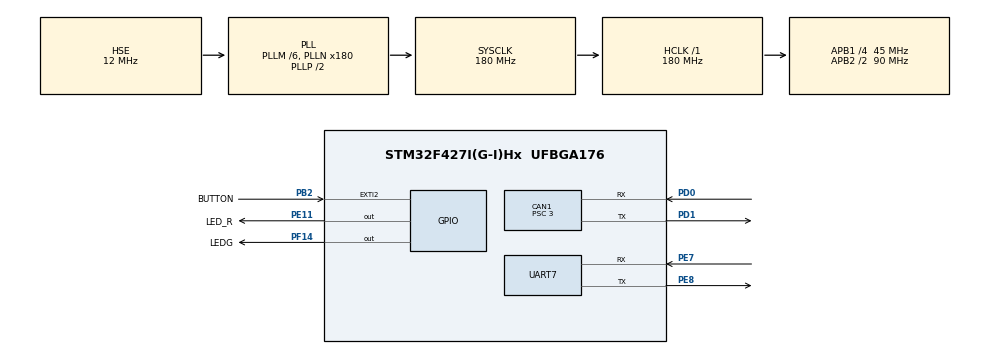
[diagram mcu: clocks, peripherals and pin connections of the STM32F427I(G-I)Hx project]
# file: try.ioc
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CAN1.BS1=CAN_BS1_10TQ
CAN1.BS2=CAN_BS2_4TQ
CAN1.CalculateBaudRate=1000000
CAN1.CalculateTimeBit=1000
CAN1.CalculateTimeQuantum=66.66666666666666
CAN1.Prescaler=3
Mcu.Family=STM32F4
Mcu.Name=STM32F427I(G-I)Hx
Mcu.Package=UFBGA176
NVIC.CAN1_RX0_IRQn=true\:0\:0\:false\:false\:true\:true\:true\:true
NVIC.CAN1_RX1_IRQn=true\:0\:0\:false\:false\:true\:true\:true\:true
NVIC.CAN1_TX_IRQn=true\:0\:0\:false\:false\:true\:true\:true\:true
NVIC.EXTI2_IRQn=true\:2\:0\:true\:false\:true\:true\:true\:true
NVIC.PriorityGroup=NVIC_PRIORITYGROUP_4
NVIC.TIM6_DAC_IRQn=true\:0\:0\:false\:false\:true\:true\:true\:true
NVIC.UART7_IRQn=true\:0\:0\:false\:false\:true\:true\:true\:true
PA13.Mode=Serial_Wire
PA13.Signal=SYS_JTMS-SWDIO
PA14.Mode=Serial_Wire
PA14.Signal=SYS_JTCK-SWCLK
PB2/BOOT1.GPIO_Label=BUTTON
PB2/BOOT1.GPIO_ModeDefaultEXTI=GPIO_MODE_IT_RISING
PB2/BOOT1.GPIO_PuPd=GPIO_PULLDOWN
PB2/BOOT1.Signal=GPXTI2
PD0.Mode=CAN_Activate
PD0.Signal=CAN1_RX
PD1.Mode=CAN_Activate
PD1.Signal=CAN1_TX
PE11.GPIO_Label=LED_R
PE11.GPIO_PuPd=GPIO_PULLUP
PE11.Signal=GPIO_Output
PE7.Mode=Asynchronous
PE7.Signal=UART7_RX
PE8.Mode=Asynchronous
PE8.Signal=UART7_TX
PF14.GPIO_Label=LEDG
PF14.Signal=GPIO_Output
PH0/OSC_IN.Mode=HSE-External-Oscillator
PH0/OSC_IN.Signal=RCC_OSC_IN
PH1/OSC_OUT.Mode=HSE-External-Oscillator
PH1/OSC_OUT.Signal=RCC_OSC_OUT
ProjectManager.HeapSize=0x200
ProjectManager.StackSize=0x400
ProjectManager.TargetToolchain=MDK-ARM V5.32
RCC.48MHZClocksFreq_Value=90000000
RCC.AHBFreq_Value=180000000
RCC.APB1CLKDivider=RCC_HCLK_DIV4
RCC.APB1Freq_Value=45000000
RCC.APB1TimFreq_Value=90000000
RCC.APB2CLKDivider=RCC_HCLK_DIV2
RCC.APB2Freq_Value=90000000
RCC.APB2TimFreq_Value=180000000
RCC.CortexFreq_Value=180000000
RCC.HCLKFreq_Value=180000000
RCC.HSE_VALUE=12000000
RCC.HSI_VALUE=16000000
RCC.LSE_VALUE=32768
RCC.PLLM=6
RCC.PLLN=180
RCC.PLLSourceVirtual=RCC_PLLSOURCE_HSE
RCC.SYSCLKFreq_VALUE=180000000
RCC.SYSCLKSource=RCC_SYSCLKSOURCE_PLLCLK
RCC.VCOOutputFreq_Value=360000000
TIM6.Period=1000-1
TIM6.Prescaler=180-1
UART7.Parity=PARITY_EVEN
UART7.VirtualMode=Asynchronous
UART7.WordLength=WORDLENGTH_9B
VP_TIM6_VS_ClockSourceINT.Mode=Enable_Timer
board=custom

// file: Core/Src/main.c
/* USER CODE BEGIN Header */
/**
  ******************************************************************************
  * @file           : main.c
  * @brief          : Main program body
  ******************************************************************************
  * @attention
  *
  * Copyright (c) 2025 STMicroelectronics.
  * All rights reserved.
  *
  * This software is licensed under terms that can be found in the LICENSE file
  * in the root directory of this software component.
  * If no LICENSE file comes with this software, it is provided AS-IS.
  *
  ******************************************************************************
  */
/* USER CODE END Header */
#include "main.h"
#include "can.h"
#include "tim.h"
#include "usart.h"
#include "gpio.h"

/* USER CODE BEGIN PV */
uint32_t ticks;
uint32_t flag = 0;
uint32_t clock = 0;
uint8_t key_lock = 1;
uint32_t ticks_1=0,ticks_2=0;
uint32_t key_pressed = 0;
uint32_t last_key_time = 0;
uint8_t rx_msg[4] ;
uint8_t tx_msg[4] ;
uint8_t stop_flag = 1;
float target_angle = 0.0f;  // 新增全局目标角度变量
// --- 按键检测相关变量 ---
uint8_t last_button_state = GPIO_PIN_SET; // 记录上一次按键状态，假设未按下时为高电平
uint32_t last_debounce_time = 0;          // 记录上次消抖处理的时间
uint32_t debounce_delay = 200;            // 消抖延时，单位毫秒
// --- 按键检测相关变量 ---

CAN_RxHeaderTypeDef rx_header;
CAN_TxHeaderTypeDef tx_header = {
  .StdId = 0x200,
  .ExtId = 0,
  .IDE = CAN_ID_STD,
  .RTR = CAN_RTR_DATA,
  .DLC = 8,
  .TransmitGlobalTime = DISABLE,
};
CAN_FilterTypeDef filter_config = {
  .FilterIdHigh = 0x0000,
  .FilterIdLow = 0x0000,
  .FilterMaskIdHigh = 0x0000,
  .FilterFIFOAssignment = CAN_FILTER_FIFO0,
  .FilterBank = 0,
  .FilterMode = CAN_FILTERMODE_IDMASK,
  .FilterScale = CAN_FILTERSCALE_32BIT,
  .FilterActivation = ENABLE
};
uint8_t rx_data[8];
uint8_t tx_data[8] = {0x00,0xd0,0x00,0x00,0x00,0x00,0x00,0x00};
uint32_t can_tx_mail_box_;
/* USER CODE END PV */

void SystemClock_Config(void);

int main(void)
{

  /* MCU Configuration--------------------------------------------------------*/

  /* Reset of all peripherals, Initializes the Flash interface and the Systick. */
  HAL_Init();

  /* Configure the system clock */
  SystemClock_Config();

  /* Initialize all configured peripherals */
  MX_GPIO_Init();
  MX_UART7_Init();
  MX_CAN1_Init();
  MX_TIM6_Init();
  /* USER CODE BEGIN 2 */
  HAL_CAN_ConfigFilter(&hcan1,&filter_config);
  HAL_CAN_Start(&hcan1);
  HAL_CAN_ActivateNotification(&hcan1,CAN_IT_RX_FIFO0_MSG_PENDING);
  HAL_TIM_Base_Start_IT(&htim6);
  /* USER CODE END 2 */

  /* Infinite loop */
  /* USER CODE BEGIN WHILE */
  while (1)
  {
    // --- 按键检测逻辑 ---
    uint8_t current_button_state = HAL_GPIO_ReadPin(BUTTON_GPIO_Port, BUTTON_Pin); // 读取当前按键状态

    // 检测按键状态从高电平（未按下）变为低电平（按下） - 下降沿检测
    if (last_button_state == GPIO_PIN_SET && current_button_state == GPIO_PIN_RESET) {
      uint32_t current_time = HAL_GetTick(); // 获取当前系统时间

      // 检查是否超过了消抖延时时间
      if (current_time - last_debounce_time >= debounce_delay) {
        stop_flag = !stop_flag; // 切换stop_flag状态
        last_debounce_time = current_time; // 更新消抖时间
      }
    }
    last_button_state = current_button_state;
    // HAL_UART_Transmit(&huart7, tx_msg, 4, 1000);
    // HAL_Delay(1000);
    // uint32_t arr_value = __HAL_TIM_GetCounter(&htim1)+1;
    // uint32_t brightness = arr_value * sinf(4*HAL_GetTick()/1000.f) - 1 ;
    // __HAL_TIM_SetCompare(&htim1, TIM_CHANNEL_2, brightness);

    /*
    if (__HAL_TIM_GET_COUNTER(&htim1) > __HAL_TIM_GET_AUTORELOAD(&htim1)/2)
    {
      HAL_GPIO_WritePin(LEDG_GPIO_Port, LEDG_Pin, GPIO_PIN_RESET);
    } else
    {

      HAL_GPIO_WritePin(LEDG_GPIO_Port, LEDG_Pin, GPIO_PIN_SET);
    }
    */
    /* USER CODE END WHILE */

  }
}

void SystemClock_Config(void)
{
  RCC_OscInitTypeDef RCC_OscInitStruct = {0};
  RCC_ClkInitTypeDef RCC_ClkInitStruct = {0};

  /** Configure the main internal regulator output voltage
  */
  __HAL_RCC_PWR_CLK_ENABLE();
  __HAL_PWR_VOLTAGESCALING_CONFIG(PWR_REGULATOR_VOLTAGE_SCALE1);

  /** Initializes the RCC Oscillators according to the specified parameters
  * in the RCC_OscInitTypeDef structure.
  */
  RCC_OscInitStruct.OscillatorType = RCC_OSCILLATORTYPE_HSE;
  RCC_OscInitStruct.HSEState = RCC_HSE_ON;
  RCC_OscInitStruct.PLL.PLLState = RCC_PLL_ON;
  RCC_OscInitStruct.PLL.PLLSource = RCC_PLLSOURCE_HSE;
  RCC_OscInitStruct.PLL.PLLM = 6;
  RCC_OscInitStruct.PLL.PLLN = 180;
  RCC_OscInitStruct.PLL.PLLP = RCC_PLLP_DIV2;
  RCC_OscInitStruct.PLL.PLLQ = 4;
  if (HAL_RCC_OscConfig(&RCC_OscInitStruct) != HAL_OK)
  {
    Error_Handler();
  }

  /** Activate the Over-Drive mode
  */
  if (HAL_PWREx_EnableOverDrive() != HAL_OK)
  {
    Error_Handler();
  }

  /** Initializes the CPU, AHB and APB buses clocks
  */
  RCC_ClkInitStruct.ClockType = RCC_CLOCKTYPE_HCLK|RCC_CLOCKTYPE_SYSCLK
                              |RCC_CLOCKTYPE_PCLK1|RCC_CLOCKTYPE_PCLK2;
  RCC_ClkInitStruct.SYSCLKSource = RCC_SYSCLKSOURCE_PLLCLK;
  RCC_ClkInitStruct.AHBCLKDivider = RCC_SYSCLK_DIV1;
  RCC_ClkInitStruct.APB1CLKDivider = RCC_HCLK_DIV4;
  RCC_ClkInitStruct.APB2CLKDivider = RCC_HCLK_DIV2;

  if (HAL_RCC_ClockConfig(&RCC_ClkInitStruct, FLASH_LATENCY_5) != HAL_OK)
  {
    Error_Handler();
  }
}

void Error_Handler(void)
{
  __disable_irq();
  while (1)
  {
  }
}
